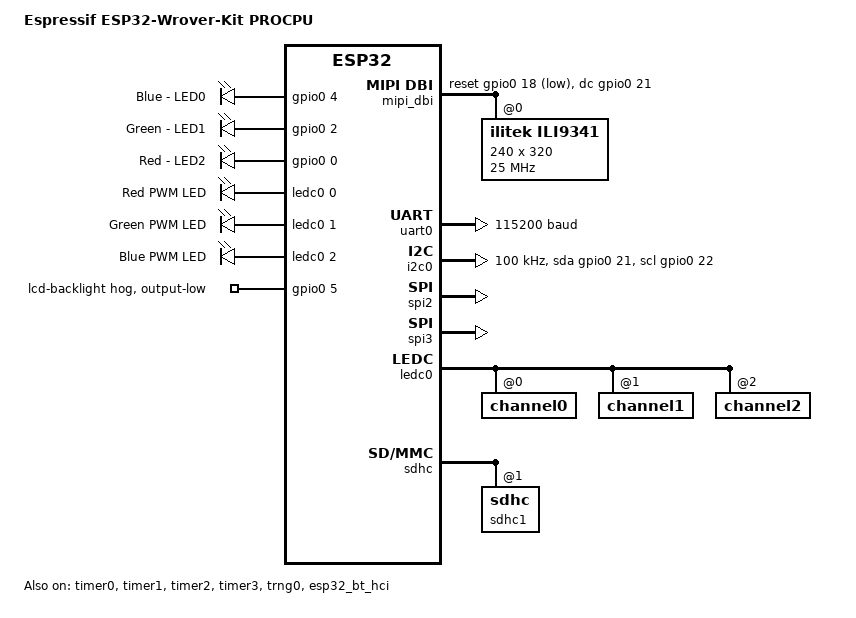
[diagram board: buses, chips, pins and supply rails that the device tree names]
/*
 * Copyright (c) 2021 Espressif Systems (Shanghai) Co., Ltd.
 *
 * SPDX-License-Identifier: Apache-2.0
 */
/dts-v1/;

#include <espressif/esp32/esp32_wrover_e_n4r8.dtsi>
#include "esp_wrover_kit-pinctrl.dtsi"

/ {
	model = "Espressif ESP32-Wrover-Kit PROCPU";
	compatible = "espressif,esp32";

	aliases {
		led0 = &blue_led;
		led1 = &green_led;
		led2 = &red_led;
		pwm-led0 = &pwm_led_red;
		pwm-led1 = &pwm_led_green;
		pwm-led2 = &pwm_led_blue;
		red-pwm-led = &pwm_led_red;
		green-pwm-led = &pwm_led_green;
		blue-pwm-led = &pwm_led_blue;
		uart-0 = &uart0;
		i2c-0 = &i2c0;
		watchdog0 = &wdt0;
		sdhc0 = &sdhc1;
	};

	chosen {
		zephyr,sram = &sram0;
		zephyr,console = &uart0;
		zephyr,shell-uart = &uart0;
		zephyr,flash = &flash0;
		zephyr,code-partition = &slot0_partition;
		zephyr,display = &ili9341;
		zephyr,sdhc = &sdhc1;
		zephyr,bt-hci = &esp32_bt_hci;
	};

	leds {
		compatible = "gpio-leds";

		blue_led: led_0 {
			gpios =  <&gpio0 4 GPIO_ACTIVE_HIGH>;
			label = "Blue - LED0";
		};

		green_led: led_1 {
			gpios =  <&gpio0 2 GPIO_ACTIVE_HIGH>;
			label = "Green - LED1";
		};

		red_led: led_2 {
			gpios =  <&gpio0 0 GPIO_ACTIVE_HIGH>;
			label = "Red - LED2";
		};
	};

	pwmleds {
		compatible = "pwm-leds";
		pwm_led_red: pwm_led_0 {
			label = "Red PWM LED";
			pwms = <&ledc0 0 PWM_HZ(100) PWM_POLARITY_NORMAL>;
		};
		pwm_led_green: pwm_led_1 {
			label = "Green PWM LED";
			pwms = <&ledc0 1 PWM_HZ(100) PWM_POLARITY_NORMAL>;
		};
		pwm_led_blue: pwm_led_2 {
			label = "Blue PWM LED";
			pwms = <&ledc0 2 PWM_HZ(100) PWM_POLARITY_NORMAL>;
		};
	};

	mipi_dbi {
		compatible = "zephyr,mipi-dbi-spi";
		dc-gpios = <&gpio0 21 GPIO_ACTIVE_HIGH>;
		reset-gpios = <&gpio0 18 GPIO_ACTIVE_LOW>;
		spi-dev = <&spi3>;
		write-only;
		#address-cells = <1>;
		#size-cells = <0>;

		ili9341: ili9341@0 {
			compatible = "ilitek,ili9341";
			mipi-max-frequency = <25000000>;
			reg = <0>;
			pixel-format = <0>;
			rotation = <0>;
			width = <240>;
			height = <320>;
		};
	};
};

&cpu0 {
	clock-frequency = <ESP32_CLK_CPU_240M>;
};

&cpu1 {
	clock-frequency = <ESP32_CLK_CPU_240M>;
};

&uart0 {
	status = "okay";
	current-speed = <115200>;
	pinctrl-0 = <&uart0_default>;
	pinctrl-names = "default";
};

&gpio0 {
	status = "okay";

	/* FIXME: should be part of the display node */
	lcd-backlight {
		gpio-hog;
		gpios = <5 GPIO_ACTIVE_HIGH>;
		output-low;
	};
};

&gpio1 {
	status = "okay";
};

&i2c0 {
	status = "okay";
	clock-frequency = <I2C_BITRATE_STANDARD>;
	sda-gpios = <&gpio0 21 GPIO_OPEN_DRAIN>;
	scl-gpios = <&gpio0 22 GPIO_OPEN_DRAIN>;
	pinctrl-0 = <&i2c0_default>;
	pinctrl-names = "default";
};

&spi2 {
	#address-cells = <1>;
	#size-cells = <0>;
	status = "okay";
	pinctrl-0 = <&spim2_default>;
	pinctrl-names = "default";
};

&spi3 {
	#address-cells = <1>;
	#size-cells = <0>;
	status = "okay";
	pinctrl-0 = <&spim3_default>;
	pinctrl-names = "default";
};

&ledc0 {
	pinctrl-0 = <&ledc0_default>;
	pinctrl-names = "default";
	status = "okay";
	#address-cells = <1>;
	#size-cells = <0>;
	channel0@0 {
		reg = <0x0>;
		timer = <0>;
	};
	channel1@1 {
		reg = <0x1>;
		timer = <1>;
	};
	channel2@2 {
		reg = <0x2>;
		timer = <2>;
	};
};

&timer0 {
	status = "okay";
};

&timer1 {
	status = "okay";
};

&timer2 {
	status = "okay";
};

&timer3 {
	status = "okay";
};

&trng0 {
	status = "okay";
};

&sdhc {
	sdhc1: sdhc@1 {
		status = "okay";

		pinctrl-0 = <&sdhc0_default>;
		pinctrl-names = "default";
		power-delay-ms = <100>;
		max-bus-freq = <52000000>;
		bus-width = <4>;

		clk-pin = <14>;
		cmd-pin = <15>;
		d0-pin = <2>;
		d1-pin = <4>;
		d2-pin = <12>;
		d3-pin = <13>;

		mmc {
			compatible = "zephyr,sdmmc-disk";
			status = "okay";
		};
	};
};

&flash0 {
	status = "okay";
	partitions {
		compatible = "fixed-partitions";
		#address-cells = <1>;
		#size-cells = <1>;

		/* Reserve 60kB for the bootloader */
		boot_partition: partition@1000 {
			label = "mcuboot";
			reg = <0x00001000 0x0000F000>;
			read-only;
		};

		/* Reserve 1024kB for the application in slot 0 */
		slot0_partition: partition@10000 {
			label = "image-0";
			reg = <0x00010000 0x00100000>;
		};

		/* Reserve 1024kB for the application in slot 1 */
		slot1_partition: partition@110000 {
			label = "image-1";
			reg = <0x00110000 0x00100000>;
		};

		/* Reserve 256kB for the scratch partition */
		scratch_partition: partition@210000 {
			   label = "image-scratch";
			   reg = <0x00210000 0x00040000>;
		};

		storage_partition: partition@250000 {
			label = "storage";
			reg = <0x00250000 0x00006000>;
		};
	};
};

&esp32_bt_hci {
	status = "okay";
};
